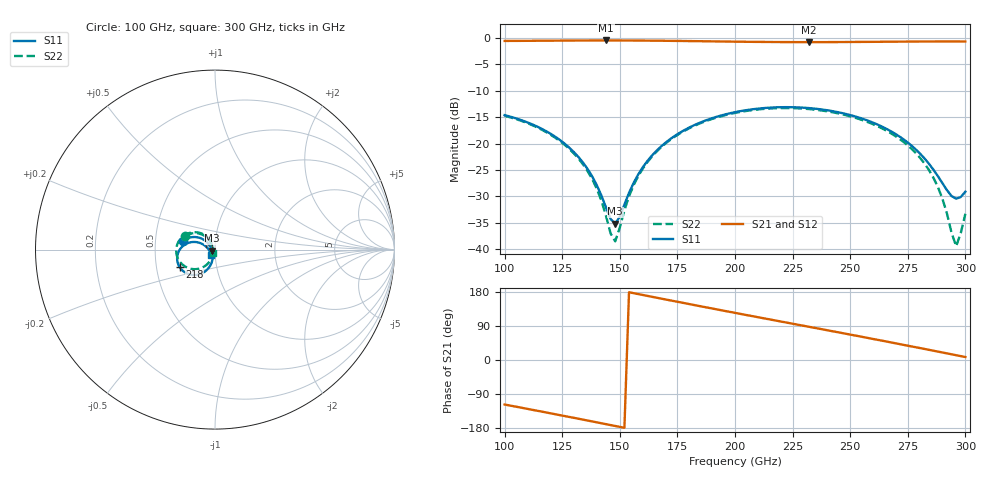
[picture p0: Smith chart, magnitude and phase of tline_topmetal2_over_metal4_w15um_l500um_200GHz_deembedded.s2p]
! Created with skrf 2.0.1 (http://scikit-rf.org).
# GHz S DB R 50.0
!freq dBS11 angS11 dBS21 angS21 dBS12 angS12 dBS22 angS22
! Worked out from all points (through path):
!   101 points, 100 GHz to 300 GHz, reference 50 ohm
!   highest |S21| = -0.52 dB at 144 GHz (marker M1); lowest = -0.8 dB at 232 GHz (marker M2)
!   group delay of S21, straight-line fit = 3.25 ps
!   lowest |S11| = -35.2 dB at 148 GHz (marker M3), VSWR 1.04, Z = 48.4 - j0.575 ohm
!   |S11| at or under -10 dB: start of sweep to end of sweep
!   |S22| runs from -39.4 to -13.3 dB; largest |S21 - S12| = 1.1e-14
!   S11 on the Smith chart (normalised r, x): 100 GHz: 0.69, +0.07; 218 GHz: 0.66, -0.14; 300 GHz: 0.96, -0.05
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100  -14.64 165.3  -0.61 -117.5  -0.61 -117.5  -14.77 155.6
120  -18.17 145.9  -0.56 -140.8  -0.56 -140.8  -18.35 133.5
134  -23.59 137.4  -0.53 -157.3  -0.53 -157.3  -23.92 121.5
140  -27.87 140.9  -0.52 -164.5  -0.52 -164.5  -28.54 121.9
144  -32.08 155.3  -0.52 -169.3  -0.52 -169.3  -33.66 133.2
146  -34.27 173.0  -0.52 -171.7  -0.52 -171.7  -37.00 152.7
148  -35.15 -160.1  -0.52 -174.1  -0.52 -174.1  -38.49 -168.9
156  -27.45 -107.0  -0.53 176.3  -0.53 176.3  -27.88 -113.1
162  -23.30 -104.2  -0.55 169.2  -0.55 169.2  -23.51 -113.6
168  -20.52 -106.8  -0.58 162.0  -0.58 162.0  -20.68 -118.1
182  -16.59 -118.2  -0.65 145.4  -0.65 145.4  -16.73 -132.2
200  -14.08 -135.6  -0.75 124.4  -0.75 124.4  -14.22 -152.3
218  -13.16 -153.5  -0.82 103.8  -0.82 103.8  -13.33 -172.6
232  -13.30 -167.3  -0.83 87.8  -0.83 87.8  -13.49 171.6
234  -13.38 -169.2  -0.83 85.5  -0.83 85.5  -13.57 169.4
250  -14.62 175.7  -0.81 67.1  -0.81 67.1  -14.86 151.4
268  -17.77 160.8  -0.75 46.1  -0.75 46.1  -18.15 131.8
278  -20.93 156.2  -0.73 34.2  -0.73 34.2  -21.60 122.2
286  -24.87 159.8  -0.71 24.7  -0.71 24.7  -26.37 118.1
290  -27.48 168.9  -0.71 19.9  -0.71 19.9  -30.39 121.1
296  -30.44 -155.0  -0.71 12.7  -0.71 12.7  -39.41 -177.2
300  -29.10 -126.2  -0.72 7.8  -0.72 7.8  -33.28 -121.4
